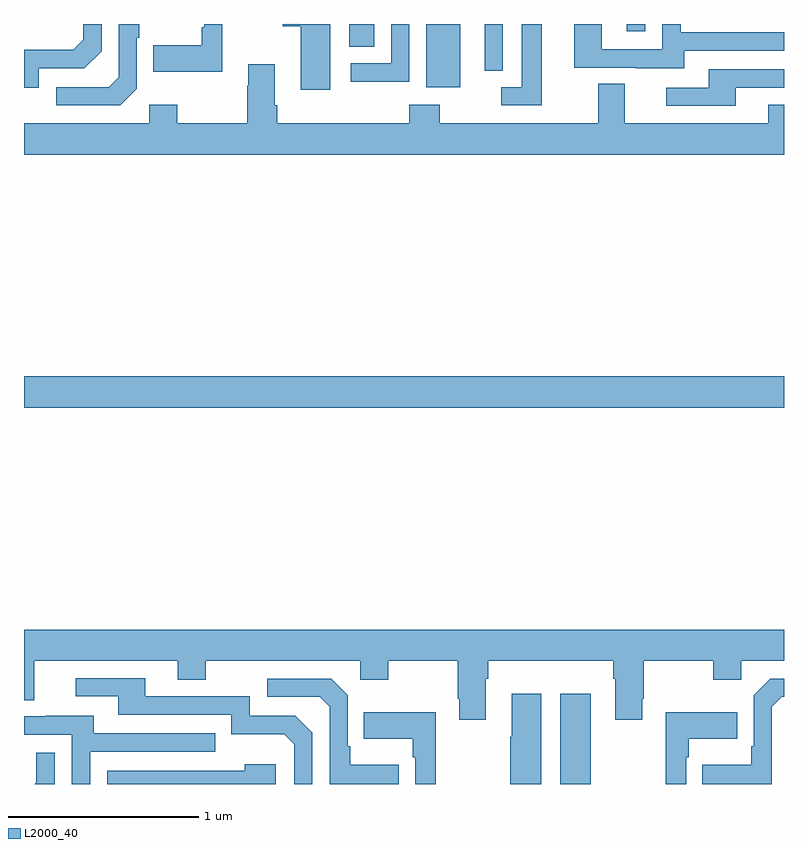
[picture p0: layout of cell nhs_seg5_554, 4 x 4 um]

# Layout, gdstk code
import gdstk
lib = gdstk.Library(unit=1e-6, precision=1e-09)
def R(c, l, rs):  # rectangles x0, y0, x1, y1
    for r in rs: c.add(gdstk.rectangle(r[:2], r[2:], *l))
def P(c, l, *ps):  # polygons
    for p in ps: c.add(gdstk.Polygon(p, *l))
L2000_40 = (2000, 40)

nhs_seg5_554 = lib.new_cell('nhs_seg5_554')
R(nhs_seg5_554, L2000_40, [(149.822,834.799,149.983,835.273), (147,836.78,151,836.944), (149.117,838.466,149.296,838.799), (148.712,838.678,148.843,838.799), (150.173,838.761,150.27,838.799)])
P(nhs_seg5_554, L2000_40, [(148.044,838.799),(147.948,838.799),(147.948,838.783),(147.936,838.783),(147.936,838.687),(147.679,838.687),(147.679,838.547),(148.044,838.547)],
  [(147.594,838.458),(147.594,838.727),(147.607,838.727),(147.607,838.799),(147.498,838.799),(147.498,838.518),(147.447,838.467),(147.171,838.467),(147.171,838.371),(147.507,838.371)],
  [(147.078,838.566),(147.318,838.566),(147.408,838.656),(147.408,838.799),(147.312,838.799),(147.312,838.716),(147.259,838.663),(147,838.663),(147,838.464),(147.078,838.464)],
  [(150.475,838.659),(151,838.659),(151,838.755),(150.456,838.755),(150.456,838.799),(150.36,838.799),(150.36,838.665),(150.042,838.665),(150.042,838.799),(149.897,838.799),(149.897,838.569),(150.221,838.569),(150.221,838.565),(150.475,838.565)],
  [(149.52,838.799),(149.426,838.799),(149.426,838.706),(149.424,838.706),(149.424,838.552),(149.52,838.552)],
  [(149.028,838.799),(148.932,838.799),(148.932,838.593),(148.719,838.593),(148.719,838.495),(149.028,838.495)],
  [(149.725,838.799),(149.621,838.799),(149.621,838.467),(149.511,838.467),(149.511,838.371),(149.725,838.371)],
  [(148.612,838.799),(148.361,838.799),(148.361,838.787),(148.457,838.787),(148.457,838.452),(148.612,838.452)],
  [(151,838.375),(150.917,838.375),(150.917,838.276),(150.163,838.276),(150.163,838.484),(150.023,838.484),(150.023,838.276),(149.187,838.276),(149.187,838.375),(149.027,838.375),(149.027,838.276),(148.334,838.276),(148.334,838.372),(148.321,838.372),(148.321,838.588),(148.181,838.588),(148.181,838.475),(148.174,838.475),(148.174,838.276),(147.807,838.276),(147.807,838.375),(147.66,838.375),(147.66,838.276),(147,838.276),(147,838.112),(151,838.112)],
  [(150.745,838.464),(151,838.464),(151,838.56),(150.605,838.56),(150.605,838.464),(150.381,838.464),(150.381,838.368),(150.745,838.368)],
  [(147,835.24),(147.055,835.24),(147.055,835.448),(147.809,835.448),(147.809,835.349),(147.957,835.349),(147.957,835.448),(148.77,835.448),(148.77,835.349),(148.917,835.349),(148.917,835.448),(149.284,835.448),(149.284,835.249),(149.291,835.249),(149.291,835.137),(149.431,835.137),(149.431,835.352),(149.444,835.352),(149.444,835.448),(150.101,835.448),(150.101,835.352),(150.113,835.352),(150.113,835.137),(150.253,835.137),(150.253,835.249),(150.261,835.249),(150.261,835.448),(150.628,835.448),(150.628,835.349),(150.774,835.349),(150.774,835.448),(151,835.448),(151,835.612),(147,835.612)],
  [(148.518,835.068),(148.428,835.158),(148.188,835.158),(148.188,835.26),(147.637,835.26),(147.637,835.356),(147.273,835.356),(147.273,835.26),(147.497,835.26),(147.497,835.164),(148.092,835.164),(148.092,835.061),(148.369,835.061),(148.422,835.008),(148.422,834.799),(148.518,834.799)],
  [(148.973,834.901),(148.717,834.901),(148.717,834.997),(148.704,834.997),(148.704,835.266),(148.617,835.353),(148.281,835.353),(148.281,835.257),(148.557,835.257),(148.608,835.206),(148.608,834.799),(148.973,834.799)],
  [(150.936,835.206),(150.987,835.257),(151,835.257),(151,835.353),(150.927,835.353),(150.84,835.266),(150.84,834.997),(150.828,834.997),(150.828,834.901),(150.571,834.901),(150.571,834.799),(150.936,834.799)],
  [(149.722,835.273),(149.567,835.273),(149.567,835.049),(149.56,835.049),(149.56,834.799),(149.722,834.799)],
  [(150.486,834.941),(150.499,834.941),(150.499,835.037),(150.755,835.037),(150.755,835.177),(150.378,835.177),(150.378,834.799),(150.486,834.799)],
  [(149.167,835.177),(148.789,835.177),(148.789,835.037),(149.046,835.037),(149.046,834.941),(149.058,834.941),(149.058,834.799),(149.167,834.799)],
  [(147.348,834.969),(148.007,834.969),(148.007,835.065),(147.367,835.065),(147.367,835.159),(147.113,835.159),(147.113,835.155),(147,835.155),(147,835.059),(147.252,835.059),(147.252,834.799),(147.348,834.799)],
  [(147.162,834.964),(147.065,834.964),(147.065,834.807),(147.057,834.799),(147.162,834.799)],
  [(148.324,834.904),(148.163,834.904),(148.163,834.87),(147.438,834.87),(147.438,834.799),(148.324,834.799)])

lib.write_gds('nhs_seg5_554.gds')
